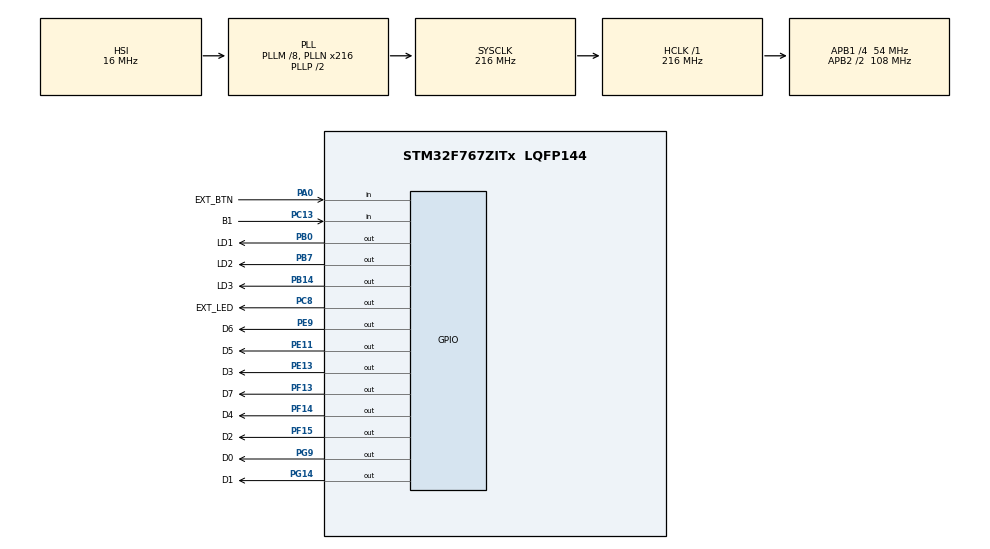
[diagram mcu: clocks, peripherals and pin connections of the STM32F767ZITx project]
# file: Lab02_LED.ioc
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CORTEX_M7.ART_ACCLERATOR_ENABLE=0
CORTEX_M7.CPU_DCache=Disabled
CORTEX_M7.CPU_ICache=Disabled
CORTEX_M7.FlashInterface=AXI_Enabled
CORTEX_M7.MPU_Control=__NULL
CORTEX_M7.PREFETCH_ENABLE=0
Mcu.Family=STM32F7
Mcu.Name=STM32F767ZITx
Mcu.Package=LQFP144
NVIC.PriorityGroup=NVIC_PRIORITYGROUP_4
PA0/WKUP.GPIO_Label=EXT_BTN
PA0/WKUP.Signal=GPIO_Input
PB0.GPIO_Label=LD1
PB0.Signal=GPIO_Output
PB14.GPIO_Label=LD3
PB14.Signal=GPIO_Output
PB7.GPIO_Label=LD2
PB7.Signal=GPIO_Output
PC13.GPIO_Label=B1
PC13.Signal=GPIO_Input
PC8.GPIO_Label=EXT_LED
PC8.Signal=GPIO_Output
PE11.GPIO_Label=D5
PE11.PinState=GPIO_PIN_SET
PE11.Signal=GPIO_Output
PE13.GPIO_Label=D3
PE13.PinState=GPIO_PIN_SET
PE13.Signal=GPIO_Output
PE9.GPIO_Label=D6
PE9.PinState=GPIO_PIN_SET
PE9.Signal=GPIO_Output
PF13.GPIO_Label=D7
PF13.PinState=GPIO_PIN_SET
PF13.Signal=GPIO_Output
PF14.GPIO_Label=D4
PF14.PinState=GPIO_PIN_SET
PF14.Signal=GPIO_Output
PF15.GPIO_Label=D2
PF15.PinState=GPIO_PIN_SET
PF15.Signal=GPIO_Output
PG14.GPIO_Label=D1
PG14.PinState=GPIO_PIN_SET
PG14.Signal=GPIO_Output
PG9.GPIO_Label=D0
PG9.PinState=GPIO_PIN_SET
PG9.Signal=GPIO_Output
ProjectManager.HeapSize=0x200
ProjectManager.StackSize=0x400
ProjectManager.TargetToolchain=MDK-ARM V5.27
RCC.AHBFreq_Value=216000000
RCC.APB1CLKDivider=RCC_HCLK_DIV4
RCC.APB1Freq_Value=54000000
RCC.APB1TimFreq_Value=108000000
RCC.APB2CLKDivider=RCC_HCLK_DIV2
RCC.APB2Freq_Value=108000000
RCC.APB2TimFreq_Value=216000000
RCC.CortexFreq_Value=216000000
RCC.FLatency=FLASH_LATENCY_7
RCC.HCLKFreq_Value=216000000
RCC.HSE_VALUE=25000000
RCC.HSI_VALUE=16000000
RCC.LSE_VALUE=32768
RCC.PLLM=8
RCC.PLLN=216
RCC.PWREXT_OverDrive=PWREXT_OverDrive_ACTIVATED
RCC.PWR_Regulator_Voltage_Scale=PWR_REGULATOR_VOLTAGE_SCALE1
RCC.SYSCLKFreq_VALUE=216000000
RCC.SYSCLKSource=RCC_SYSCLKSOURCE_PLLCLK
RCC.USBFreq_Value=216000000
RCC.VCOOutputFreq_Value=432000000
board=custom

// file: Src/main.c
/* USER CODE BEGIN Header */
/**
  ******************************************************************************
  * @file           : main.c
  * @brief          : Main program body
  ******************************************************************************
  * @attention
  *
  * <h2><center>&copy; Copyright (c) 2020 STMicroelectronics.
  * All rights reserved.</center></h2>
  *
  * This software component is licensed by ST under BSD 3-Clause license,
  * the "License"; You may not use this file except in compliance with the
  * License. You may obtain a copy of the License at:
  *                        opensource.org/licenses/BSD-3-Clause
  *
  ******************************************************************************
  */
/* USER CODE END Header */
#include "main.h"
#include "gpio.h"

/* USER CODE BEGIN PD */
#define LED_ARR_ON	GPIO_PIN_RESET
#define LED_ARR_OFF GPIO_PIN_SET
#define EXT_BTN_ON	GPIO_PIN_RESET

/* --------------------- Change question to compile here ---------------------*/
/* ---------------------- Available question 1, 2 and 4 ----------------------*/
#define QUESTION 4

/* USER CODE END PD */

/* USER CODE BEGIN PV */
int8_t stage = 8;
/* USER CODE END PV */

void SystemClock_Config(void);

int main(void)
{

  /* MCU Configuration--------------------------------------------------------*/

  /* Reset of all peripherals, Initializes the Flash interface and the Systick. */
  HAL_Init();

  /* Configure the system clock */
  SystemClock_Config();

  /* Initialize all configured peripherals */
  MX_GPIO_Init();
  /* USER CODE BEGIN 2 */
#if QUESTION == 4
	GPIO_TypeDef* LED_Port[8] = {D0_GPIO_Port, D1_GPIO_Port, D2_GPIO_Port, D3_GPIO_Port, D4_GPIO_Port, D5_GPIO_Port, D6_GPIO_Port, D7_GPIO_Port};
	uint32_t LED_Pin[8] = {D0_Pin, D1_Pin, D2_Pin, D3_Pin, D4_Pin, D5_Pin, D6_Pin, D7_Pin};
#endif
  /* USER CODE END 2 */

  /* Infinite loop */
  while (1)
  {

    /* USER CODE BEGIN 3 */
#if QUESTION == 1
		// Check whether button is pressed
		if (HAL_GPIO_ReadPin(B1_GPIO_Port, B1_Pin) == GPIO_PIN_SET)
		{
			// Turn on LD1 at PB0
			HAL_GPIO_WritePin(LD1_GPIO_Port, LD1_Pin, GPIO_PIN_SET);

			// Delay 1,000 milliseconds
			HAL_Delay(1000);

			//Turn off LD1 at PB0
			HAL_GPIO_WritePin(LD1_GPIO_Port, LD1_Pin, GPIO_PIN_RESET);
		}
#elif QUESTION == 2
		if (HAL_GPIO_ReadPin(EXT_BTN_GPIO_Port, EXT_BTN_Pin) == EXT_BTN_ON)
		{
			HAL_GPIO_WritePin(EXT_LED_GPIO_Port, EXT_LED_Pin, GPIO_PIN_SET);
			stage = 1;
			HAL_Delay(1000);
			HAL_GPIO_WritePin(EXT_LED_GPIO_Port, EXT_LED_Pin, GPIO_PIN_RESET);
			stage = 0;
		}
#elif QUESTION == 4
		if (HAL_GPIO_ReadPin(EXT_BTN_GPIO_Port, EXT_BTN_Pin) == EXT_BTN_ON)
		{
			if (stage < 7) stage++;
			else stage = 0;

//			for (int i = 0; i < 8; i++) {
//				HAL_GPIO_WritePin(LED_Port[i], LED_Pin[i], i == stage ? LED_ARR_ON : LED_ARR_OFF);
//			}

			HAL_GPIO_WritePin(LED_Port[stage], LED_Pin[stage], LED_ARR_ON);
			HAL_GPIO_WritePin(LED_Port[(stage+7) %8], LED_Pin[(stage+7) %8], LED_ARR_OFF);

			while(HAL_GPIO_ReadPin(EXT_BTN_GPIO_Port, EXT_BTN_Pin) == EXT_BTN_ON);
			HAL_Delay(100);
		}

		if (HAL_GPIO_ReadPin(B1_GPIO_Port, B1_Pin) == GPIO_PIN_SET)
		{
			// HAL_GPIO_WritePin(LED_Port[stage], LED_Pin[stage], LED_ARR_OFF);
			for (int i = 7; i >= 0; i--) {
				HAL_GPIO_WritePin(LED_Port[i], LED_Pin[i], LED_ARR_ON);
				HAL_Delay(500);
				HAL_GPIO_WritePin(LED_Port[i], LED_Pin[i], LED_ARR_OFF);
			}
			stage = 8; // All off
		}
#endif
  }
  /* USER CODE END 3 */
}

void SystemClock_Config(void)
{
  RCC_OscInitTypeDef RCC_OscInitStruct = {0};
  RCC_ClkInitTypeDef RCC_ClkInitStruct = {0};

  /** Configure the main internal regulator output voltage
  */
  __HAL_RCC_PWR_CLK_ENABLE();
  __HAL_PWR_VOLTAGESCALING_CONFIG(PWR_REGULATOR_VOLTAGE_SCALE1);
  /** Initializes the RCC Oscillators according to the specified parameters
  * in the RCC_OscInitTypeDef structure.
  */
  RCC_OscInitStruct.OscillatorType = RCC_OSCILLATORTYPE_HSI;
  RCC_OscInitStruct.HSIState = RCC_HSI_ON;
  RCC_OscInitStruct.HSICalibrationValue = RCC_HSICALIBRATION_DEFAULT;
  RCC_OscInitStruct.PLL.PLLState = RCC_PLL_ON;
  RCC_OscInitStruct.PLL.PLLSource = RCC_PLLSOURCE_HSI;
  RCC_OscInitStruct.PLL.PLLM = 8;
  RCC_OscInitStruct.PLL.PLLN = 216;
  RCC_OscInitStruct.PLL.PLLP = RCC_PLLP_DIV2;
  RCC_OscInitStruct.PLL.PLLQ = 2;
  if (HAL_RCC_OscConfig(&RCC_OscInitStruct) != HAL_OK)
  {
    Error_Handler();
  }
  /** Activate the Over-Drive mode
  */
  if (HAL_PWREx_EnableOverDrive() != HAL_OK)
  {
    Error_Handler();
  }
  /** Initializes the CPU, AHB and APB buses clocks
  */
  RCC_ClkInitStruct.ClockType = RCC_CLOCKTYPE_HCLK|RCC_CLOCKTYPE_SYSCLK
                              |RCC_CLOCKTYPE_PCLK1|RCC_CLOCKTYPE_PCLK2;
  RCC_ClkInitStruct.SYSCLKSource = RCC_SYSCLKSOURCE_PLLCLK;
  RCC_ClkInitStruct.AHBCLKDivider = RCC_SYSCLK_DIV1;
  RCC_ClkInitStruct.APB1CLKDivider = RCC_HCLK_DIV4;
  RCC_ClkInitStruct.APB2CLKDivider = RCC_HCLK_DIV2;

  if (HAL_RCC_ClockConfig(&RCC_ClkInitStruct, FLASH_LATENCY_7) != HAL_OK)
  {
    Error_Handler();
  }
}

void Error_Handler(void)
{
}

/************************ (C) COPYRIGHT STMicroelectronics *****END OF FILE****/
